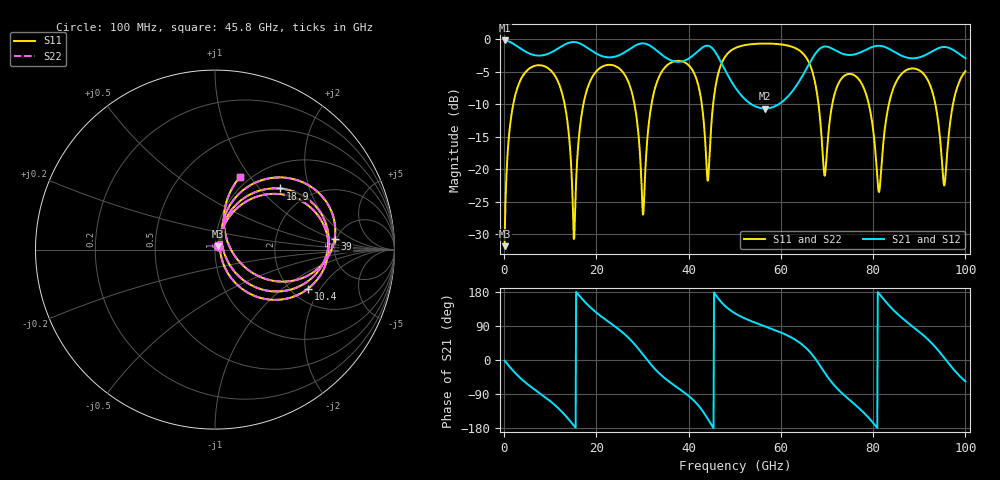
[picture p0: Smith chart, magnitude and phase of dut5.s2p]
! Touchstone file exported from HFSS 2026.1.0
!  File:  C:/ffzhzh/LocalFiles/Ansys_Project_Files/temp_train_TSV_RDL_5_1783436399_41684.aedt
!  Generated:  11:12:31 PM Jul  7, 2026
!  Design:  TSV_RDL
!  Project:  temp_train_TSV_RDL_5_1783436399_41684
! Variables:
!  h_bsmrdl = 4.17um
!  h_ox = 20um
!  h_rdl = 5um
!  h_sub = 77.98um
!  h_tmrdl = 4.95um
!  h_tsv = 77.98um
!  h_via = 3um
!  l_bsmrdl = 243.98um
!  l_sub = 3817.72um
!  l_tmrdl = 645.54um
!  m_sub = 200um
!  pitch = 59.27um
!  r_tsv = 10.22um
!  s_tmrdl = 10um
!  w_bsmrdl = 21.37um
!  w_sub = 500um
!  w_tmrdl = 13.17um
!  x_tsv_center1 = 652.125um
!  x_tsv_center2 = 917.475um
!  x_tsv_center3 = 1576.185um
!  x_tsv_center4 = 1841.535um
!  x_tsv_center5 = 2500.245um
!  x_tsv_center6 = 2765.595um
# GHz S MA R 50.000000
! Terminal data exported
! Port[1] = TM_RDL1_1_T1
! Port[2] = TM_RDL5_1_T1
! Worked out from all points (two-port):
!   1000 points, 100 MHz to 100 GHz, reference 50 ohm
!   highest |S21| = -0.16 dB at 100 MHz (marker M1); lowest = -10.6 dB at 56.5 GHz (marker M2)
!   |S21| within 3 dB of the highest: start of sweep to 35.94 GHz; 66.62 GHz to end of sweep (the widest 2 of 3)
!   lowest |S11| = -31.9 dB at 100 MHz (marker M3), VSWR 1.05, Z = 51.8 + j1.84 ohm
!   |S11| at or under -10 dB: 13.12 GHz to 17.18 GHz (4.062 GHz wide, 26.8 % of centre); 79.07 GHz to 83.41 GHz (4.337 GHz wide, 5.34 % of centre); 93.49 GHz to 97.31 GHz (3.811 GHz wide, 4 % of centre) (the widest 3 of 7)
!   |S22| runs from -31.9 to -0.6 dB; largest |S21 - S12| = 3.2e-10
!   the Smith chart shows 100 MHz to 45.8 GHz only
!   S11 on the Smith chart (normalised r, x): 100 MHz: 1.04, +0.04; 10.4 GHz: 2.44, -1.56; 18.9 GHz: 1.44, +1.30; 39 GHz: 4.81, +1.05; 45.8 GHz: 0.90, +0.89
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0.1  0.0255 44.0  0.982 -1.6  0.982 -1.6  0.0255 44.0
! Gamma 0 0 0 0
! Port Impedance 50 0 50 0
2.8  0.4159 47.5  0.8863 -39.3  0.8863 -39.3  0.4159 47.5
10.4  0.5621 -22.8  0.8009 -112.7  0.8009 -112.7  0.5621 -22.8
15.1  0.02895 -9.7  0.9552 -172.9  0.9552 -172.9  0.02936 -9.6
16.8  0.2647 65.7  0.9163 162.5  0.9163 162.5  0.2647 65.6
18.9  0.4969 43.3  0.8206 136.4  0.8206 136.4  0.4969 43.2
26.7  0.4912 -26.2  0.8204 61.6  0.8204 61.6  0.4912 -26.2
30.1  0.04453 6.2  0.9325 14.4  0.9325 14.4  0.04526 6.3
33.4  0.4971 53.0  0.8019 -32.5  0.8019 -32.5  0.4972 52.9
39  0.6691 5.2  0.6836 -85.4  0.6836 -85.4  0.6691 5.1
44.1  0.08171 13.8  0.8953 -154.5  0.8953 -154.5  0.08231 13.8
45.8  0.4272 71.1  0.7968 172.8  0.7968 172.8  0.4273 70.9
50.1  0.8581 29.4  0.4263 122.8  0.4263 122.8  0.8581 29.3
56.5  0.9295 -1.4  0.2935 89.1  0.2935 89.1  0.9295 -1.5
66.7  0.5827 -66.3  0.7031 15.3  0.7031 15.3  0.5823 -66.6
69.5  0.08904 -29.6  0.8822 -33.5  0.8822 -33.5  0.08631 -29.7
73.4  0.5114 -2.5  0.7748 -89.4  0.7748 -89.4  0.5113 -2.4
81.2  0.06715 -12.7  0.8941 176.3  0.8941 176.3  0.06593 -12.9
83.4  0.3156 43.7  0.8476 144.6  0.8476 144.6  0.3154 43.8
90.8  0.5488 -21.6  0.744 66.2  0.744 66.2  0.5487 -21.9
94.9  0.1167 -40.5  0.8715 13.5  0.8715 13.5  0.1138 -42.5
100  0.5694 28.1  0.7169 -56.5  0.7169 -56.5  0.5689 28.4
